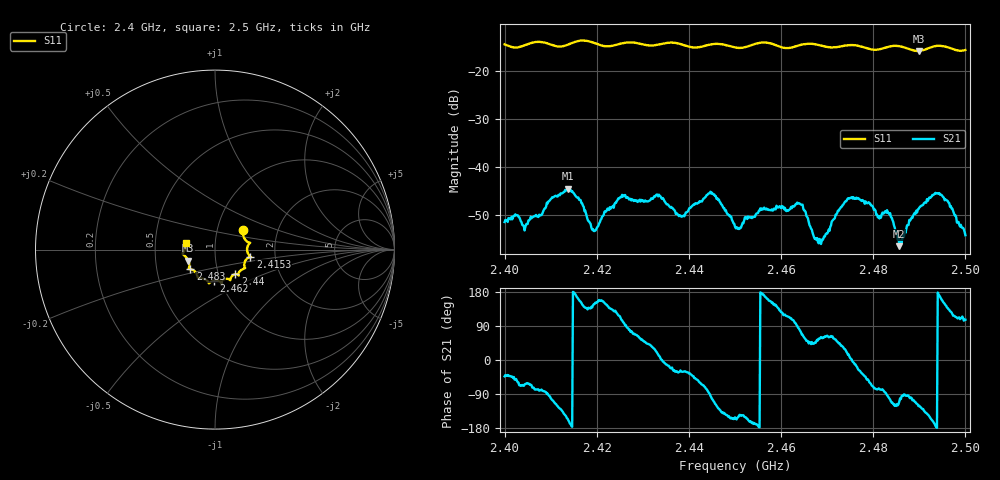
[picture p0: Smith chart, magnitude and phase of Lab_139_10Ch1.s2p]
# Hz S RI R 50
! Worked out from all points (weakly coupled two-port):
!   601 points, 2.4 GHz to 2.5 GHz, reference 50 ohm
!   highest |S21| = -44.55 dB at 2.4137 GHz (marker M1); lowest = -56.5 dB at 2.4857 GHz (marker M2)
!   lowest |S11| = -15.9 dB at 2.4898 GHz (marker M3), VSWR 1.38, Z = 36.8 - j4.62 ohm
!   |S11| at or under -10 dB: start of sweep to end of sweep
!   S12 and S22 are empty: the file has one direction only
!   S11 on the Smith chart (normalised r, x): 2.4 GHz: 1.33, +0.29; 2.4153 GHz: 1.48, -0.12; 2.44 GHz: 1.20, -0.34; 2.462 GHz: 0.93, -0.33; 2.483 GHz: 0.74, -0.17; 2.5 GHz: 0.72, +0.06
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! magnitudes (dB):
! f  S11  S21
! 2.4 GHz  -14.5  -51.5
! 2.4045 GHz  -14.7  -52.5
! 2.4137 GHz  -14.6  -44.5
! 2.4153 GHz  -14.0  -46.0
! 2.4167 GHz  -13.7  -47.5
! 2.4195 GHz  -14.2  -53.3
! 2.4255 GHz  -14.3  -45.8
! 2.4333 GHz  -14.6  -46.1
! 2.44 GHz  -15.0  -48.8
! 2.445 GHz  -14.5  -45.4
! 2.45 GHz  -15.1  -52.4
! 2.462 GHz  -15.2  -48.8
! 2.4643 GHz  -14.6  -47.9
! 2.4667 GHz  -14.4  -53.0
! 2.4687 GHz  -14.8  -56.0
! 2.4748 GHz  -14.7  -46.6
! 2.483 GHz  -15.1  -49.0
! 2.4833 GHz  -15.0  -49.6
! 2.4857 GHz  -14.9  -56.5
! 2.4898 GHz  -15.9  -48.8
! 2.4943 GHz  -14.8  -45.5
! 2.5 GHz  -15.7  -54.2
